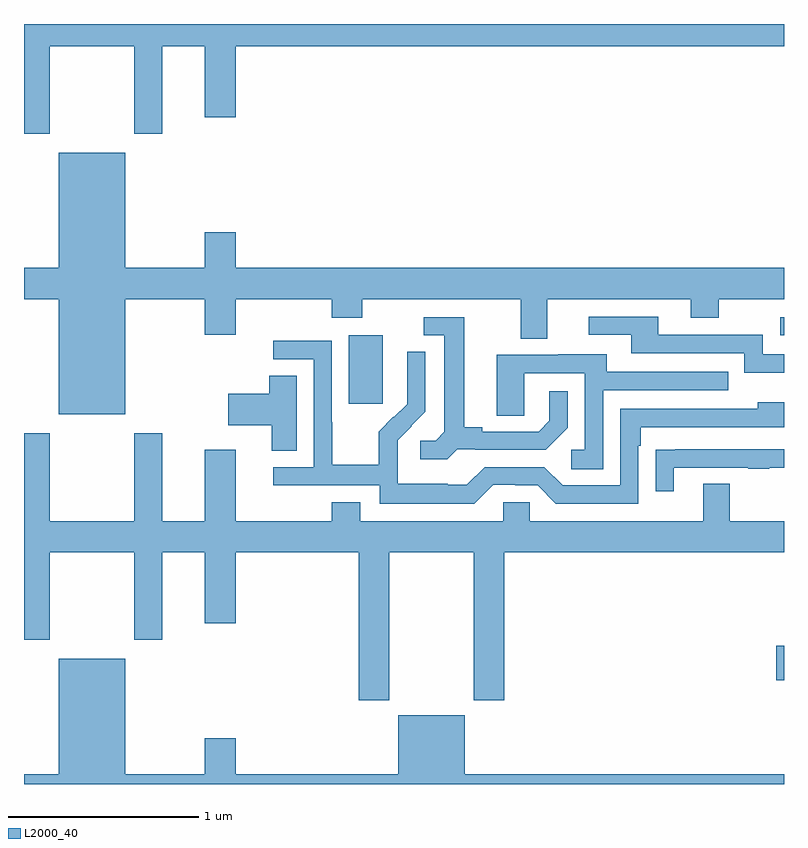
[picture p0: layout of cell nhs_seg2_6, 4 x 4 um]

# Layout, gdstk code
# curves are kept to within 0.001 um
import gdstk
lib = gdstk.Library(unit=1e-6, precision=1e-09)
def R(c, l, rs):  # rectangles x0, y0, x1, y1
    for r in rs: c.add(gdstk.rectangle(r[:2], r[2:], *l))
def P(c, l, *ps):  # polygons
    for p in ps: c.add(gdstk.Polygon(p, *l))
L2000_40 = (2000, 40)

nhs_seg2_6 = lib.new_cell('nhs_seg2_6')
R(nhs_seg2_6, L2000_40, [(114.96,596.345,115,596.528), (112.709,597.801,112.888,598.162), (114.981,598.161,115,598.257)])
P(nhs_seg2_6, L2000_40, [(111.135,599.684),(111.58,599.684),(111.58,599.223),(111.727,599.223),(111.727,599.684),(111.95,599.684),(111.95,599.31),(112.114,599.31),(112.114,599.684),(115,599.684),(115,599.8),(111,599.8),(111,599.223),(111.135,599.223)],
  [(111.532,598.352),(111.95,598.352),(111.95,598.164),(112.114,598.164),(112.114,598.352),(112.619,598.352),(112.619,598.253),(112.779,598.253),(112.779,598.352),(113.615,598.352),(113.615,598.144),(113.755,598.144),(113.755,598.352),(114.509,598.352),(114.509,598.253),(114.657,598.253),(114.657,598.352),(115,598.352),(115,598.516),(112.114,598.516),(112.114,598.705),(111.95,598.705),(111.95,598.516),(111.532,598.516),(111.532,599.122),(111.182,599.122),(111.182,598.516),(111,598.516),(111,598.352),(111.182,598.352),(111.182,597.746),(111.532,597.746)],
  [(115,598.062),(114.888,598.062),(114.888,598.164),(114.337,598.164),(114.337,598.26),(113.973,598.26),(113.973,598.164),(114.197,598.164),(114.197,598.068),(114.792,598.068),(114.792,597.965),(115,597.965)],
  [(113.28,597.561),(113.374,597.561),(113.374,597.558),(113.746,597.558),(113.862,597.674),(113.862,597.868),(113.765,597.868),(113.765,597.711),(113.708,597.654),(113.413,597.654),(113.413,597.677),(113.317,597.677),(113.317,598.257),(113.103,598.257),(113.103,598.161),(113.213,598.161),(113.213,597.653),(113.166,597.606),(113.085,597.606),(113.085,597.509),(113.228,597.509)],
  [(113.469,597.375),(113.585,597.375),(113.585,597.372),(113.703,597.372),(113.799,597.276),(114.234,597.276),(114.234,597.581),(114.247,597.581),(114.247,597.678),(115,597.678),(115,597.808),(114.863,597.808),(114.863,597.774),(114.138,597.774),(114.138,597.372),(113.835,597.372),(113.739,597.468),(113.424,597.468),(113.331,597.375),(113.231,597.375),(113.231,597.379),(112.968,597.379),(112.968,597.513),(112.966,597.513),(112.966,597.61),(113.112,597.758),(113.112,598.076),(113.016,598.076),(113.016,597.922),(113.018,597.922),(113.018,597.8),(112.947,597.729),(112.944,597.732),(112.867,597.655),(112.867,597.481),(112.623,597.481),(112.623,597.704),(112.62,597.704),(112.62,598.134),(112.311,598.134),(112.311,598.035),(112.524,598.035),(112.524,597.468),(112.311,597.468),(112.311,597.372),(112.872,597.372),(112.872,597.275),(113.369,597.275)],
  [(114.048,597.873),(114.707,597.873),(114.707,597.969),(114.067,597.969),(114.067,598.063),(113.813,598.063),(113.813,598.059),(113.489,598.059),(113.489,597.739),(113.634,597.739),(113.634,597.963),(113.952,597.963),(113.952,597.558),(113.88,597.558),(113.88,597.457),(114.048,597.457)],
  [(112.435,597.95),(112.292,597.95),(112.292,597.855),(112.074,597.855),(112.074,597.689),(112.304,597.689),(112.304,597.553),(112.435,597.553)],
  [(112.923,597.02),(113.368,597.02),(113.368,596.241),(113.528,596.241),(113.528,597.02),(115,597.02),(115,597.184),(114.715,597.184),(114.715,597.379),(114.575,597.379),(114.575,597.184),(113.661,597.184),(113.661,597.282),(113.523,597.282),(113.523,597.184),(112.771,597.184),(112.771,597.283),(112.619,597.283),(112.619,597.184),(112.114,597.184),(112.114,597.559),(111.95,597.559),(111.95,597.184),(111.727,597.184),(111.727,597.646),(111.58,597.646),(111.58,597.184),(111.135,597.184),(111.135,597.646),(111,597.646),(111,596.559),(111.135,596.559),(111.135,597.02),(111.58,597.02),(111.58,596.559),(111.727,596.559),(111.727,597.02),(111.95,597.02),(111.95,596.646),(112.114,596.646),(112.114,597.02),(112.763,597.02),(112.763,596.241),(112.923,596.241)],
  [(114.421,597.465),(114.811,597.465),(114.811,597.46),(114.923,597.46),(114.923,597.465),(115,597.465),(115,597.561),(114.427,597.561),(114.427,597.56),(114.325,597.56),(114.325,597.342),(114.421,597.342)],
  [(115,595.852),(113.32,595.852),(113.32,596.161),(112.97,596.161),(112.97,595.852),(112.114,595.852),(112.114,596.041),(111.95,596.041),(111.95,595.852),(111.532,595.852),(111.532,596.458),(111.182,596.458),(111.182,595.852),(111,595.852),(111,595.8),(115,595.8)])

lib.write_gds('nhs_seg2_6.gds')
